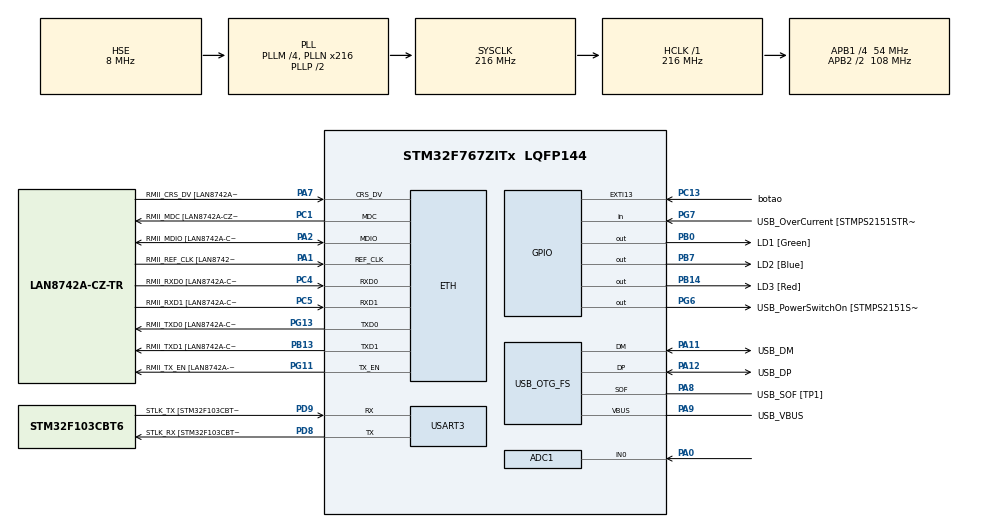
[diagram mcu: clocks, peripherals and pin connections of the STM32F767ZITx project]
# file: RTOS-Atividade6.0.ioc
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ADC1.Channel-0\#ChannelRegularConversion=ADC_CHANNEL_0
ADC1.ContinuousConvMode=ENABLE
ADC1.DMAContinuousRequests=ENABLE
ADC1.NbrOfConversionFlag=1
ADC1.Rank-0\#ChannelRegularConversion=1
ADC1.SamplingTime-0\#ChannelRegularConversion=ADC_SAMPLETIME_3CYCLES
ADC1.master=1
Dma.ADC1.0.Direction=DMA_PERIPH_TO_MEMORY
Dma.ADC1.0.FIFOMode=DMA_FIFOMODE_DISABLE
Dma.ADC1.0.Instance=DMA2_Stream0
Dma.ADC1.0.MemDataAlignment=DMA_MDATAALIGN_HALFWORD
Dma.ADC1.0.MemInc=DMA_MINC_ENABLE
Dma.ADC1.0.Mode=DMA_CIRCULAR
Dma.ADC1.0.PeriphDataAlignment=DMA_PDATAALIGN_HALFWORD
Dma.ADC1.0.PeriphInc=DMA_PINC_DISABLE
Dma.ADC1.0.Priority=DMA_PRIORITY_HIGH
Dma.Request0=ADC1
ETH.MediaInterface=HAL_ETH_RMII_MODE
ETH.PHY_Name=LAN8742A_PHY_ADDRESS
ETH.PHY_Value=0
ETH.PhyAddress=0
FREERTOS.BinarySemaphores01=SemBotao,Dynamic,NULL,Depleted;SemFimLeitura,Dynamic,NULL,Depleted;SemConsumidora,Dynamic,NULL,Depleted
FREERTOS.Queues01=\ DadoSensorFila,1024,uint16_t,0,Dynamic,NULL,NULL
FREERTOS.Tasks01=TaskProdutora,24,512,StartTaskProdutora,Default,NULL,Dynamic,NULL,NULL;TaskConsumidora,24,512,StartTaskConsumidora,Default,NULL,Dynamic,NULL,NULL
FREERTOS.configUSE_NEWLIB_REENTRANT=1
Mcu.Family=STM32F7
Mcu.Name=STM32F767ZITx
Mcu.Package=LQFP144
NVIC.ADC_IRQn=true\:5\:0\:false\:false\:true\:true\:true\:true\:true
NVIC.DMA2_Stream0_IRQn=true\:5\:0\:false\:false\:true\:true\:false\:true\:true
NVIC.EXTI15_10_IRQn=true\:5\:0\:false\:false\:true\:true\:true\:true\:true
NVIC.PriorityGroup=NVIC_PRIORITYGROUP_4
NVIC.TIM2_IRQn=true\:15\:0\:false\:false\:true\:false\:false\:true\:true
NVIC.TimeBase=TIM2_IRQn
NVIC.TimeBaseIP=TIM2
PA0/WKUP.Signal=ADCx_IN0
PA1.GPIO_Label=RMII_REF_CLK [LAN8742A-CZ-TR_REFCLK0]
PA1.Mode=RMII
PA1.Signal=ETH_REF_CLK
PA10.GPIO_Label=USB_ID
PA10.Signal=USB_OTG_FS_ID
PA11.GPIO_Label=USB_DM
PA11.Mode=Device_Only
PA11.Signal=USB_OTG_FS_DM
PA12.GPIO_Label=USB_DP
PA12.Mode=Device_Only
PA12.Signal=USB_OTG_FS_DP
PA13.GPIO_Label=TMS
PA13.Mode=Serial_Wire
PA13.Signal=SYS_JTMS-SWDIO
PA14.GPIO_Label=TCK
PA14.Mode=Serial_Wire
PA14.Signal=SYS_JTCK-SWCLK
PA2.GPIO_Label=RMII_MDIO [LAN8742A-CZ-TR_MDIO]
PA2.Mode=RMII
PA2.Signal=ETH_MDIO
PA7.GPIO_Label=RMII_CRS_DV [LAN8742A-CZ-TR_CRS_DV]
PA7.Mode=RMII
PA7.Signal=ETH_CRS_DV
PA8.GPIO_Label=USB_SOF [TP1]
PA8.Mode=Activate_SOF_FS
PA8.Signal=USB_OTG_FS_SOF
PA9.GPIO_Label=USB_VBUS
PA9.Mode=Activate_VBUS
PA9.Signal=USB_OTG_FS_VBUS
PB0.GPIO_Label=LD1 [Green]
PB0.Signal=GPIO_Output
PB13.GPIO_Label=RMII_TXD1 [LAN8742A-CZ-TR_TXD1]
PB13.Mode=RMII
PB13.Signal=ETH_TXD1
PB14.GPIO_Label=LD3 [Red]
PB14.Signal=GPIO_Output
PB3.GPIO_Label=SWO
PB3.Signal=SYS_JTDO-SWO
PB7.GPIO_Label=LD2 [Blue]
PB7.Signal=GPIO_Output
PC1.GPIO_Label=RMII_MDC [LAN8742A-CZ-TR_MDC]
PC1.Mode=RMII
PC1.Signal=ETH_MDC
PC13.GPIO_Label=botao
PC13.Signal=GPXTI13
PC14/OSC32_IN.Mode=LSE-External-Oscillator
PC14/OSC32_IN.Signal=RCC_OSC32_IN
PC15/OSC32_OUT.Mode=LSE-External-Oscillator
PC15/OSC32_OUT.Signal=RCC_OSC32_OUT
PC4.GPIO_Label=RMII_RXD0 [LAN8742A-CZ-TR_RXD0]
PC4.Mode=RMII
PC4.Signal=ETH_RXD0
PC5.GPIO_Label=RMII_RXD1 [LAN8742A-CZ-TR_RXD1]
PC5.Mode=RMII
PC5.Signal=ETH_RXD1
PD8.GPIO_Label=STLK_RX [STM32F103CBT6_PA3]
PD8.Mode=Asynchronous
PD8.Signal=USART3_TX
PD9.GPIO_Label=STLK_TX [STM32F103CBT6_PA2]
PD9.Mode=Asynchronous
PD9.Signal=USART3_RX
PG11.GPIO_Label=RMII_TX_EN [LAN8742A-CZ-TR_TXEN]
PG11.Mode=RMII
PG11.Signal=ETH_TX_EN
PG13.GPIO_Label=RMII_TXD0 [LAN8742A-CZ-TR_TXD0]
PG13.Mode=RMII
PG13.Signal=ETH_TXD0
PG6.GPIO_Label=USB_PowerSwitchOn [STMPS2151STR_EN]
PG6.Signal=GPIO_Output
PG7.GPIO_Label=USB_OverCurrent [STMPS2151STR_FAULT]
PG7.Signal=GPIO_Input
PH0/OSC_IN.GPIO_Label=MCO [STM32F103CBT6_PA8]
PH0/OSC_IN.Mode=HSE-External-Clock-Source
PH0/OSC_IN.Signal=RCC_OSC_IN
PH1/OSC_OUT.Mode=HSE-External-Clock-Source
PH1/OSC_OUT.Signal=RCC_OSC_OUT
ProjectManager.HeapSize=0x200
ProjectManager.StackSize=0x400
ProjectManager.TargetToolchain=STM32CubeIDE
RCC.48MHZClocksFreq_Value=24000000
RCC.AHBFreq_Value=216000000
RCC.APB1CLKDivider=RCC_HCLK_DIV4
RCC.APB1Freq_Value=54000000
RCC.APB1TimFreq_Value=108000000
RCC.APB2CLKDivider=RCC_HCLK_DIV2
RCC.APB2Freq_Value=108000000
RCC.APB2TimFreq_Value=216000000
RCC.CortexFreq_Value=216000000
RCC.EnbaleCSS=true
RCC.HCLKFreq_Value=216000000
RCC.HSE_VALUE=8000000
RCC.HSI_VALUE=16000000
RCC.PLLM=4
RCC.PLLMUL=RCC_PLL_MUL9
RCC.PLLN=216
RCC.PLLQ=9
RCC.PRESCALERUSB=RCC_USBCLKSOURCE_PLL_DIV1_5
RCC.SYSCLKFreq_VALUE=216000000
RCC.SYSCLKSource=RCC_SYSCLKSOURCE_PLLCLK
RCC.SYSCLKSourceVirtual=RCC_SYSCLKSOURCE_PLLCLK
RCC.USBFreq_Value=48000000
RCC.VCOOutputFreq_Value=432000000
SH.ADCx_IN0.0=ADC1_IN0,IN0
USART3.VirtualMode-Asynchronous=VM_ASYNC
USB_OTG_FS.VirtualMode=Device_Only
VP_FREERTOS_VS_CMSIS_V2.Mode=CMSIS_V2
VP_SYS_VS_tim2.Mode=TIM2
board=NUCLEO-F767ZI

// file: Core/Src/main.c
/* USER CODE BEGIN Header */
/**
 ******************************************************************************
 * @file           : main.c
 * @brief          : Main program body
 ******************************************************************************
 * @attention
 *
 * Copyright (c) 2025 STMicroelectronics.
 * All rights reserved.
 *
 * This software is licensed under terms that can be found in the LICENSE file
 * in the root directory of this software component.
 * If no LICENSE file comes with this software, it is provided AS-IS.
 *
 ******************************************************************************
 */
/* USER CODE END Header */
#include "main.h"
#include "string.h"
#include "cmsis_os.h"

/* USER CODE BEGIN Includes */
#include <stdio.h>
#include <string.h>
/* USER CODE END Includes */

#if defined ( __ICCARM__ ) /*!< IAR Compiler */
#pragma location=0x2007c000
ETH_DMADescTypeDef  DMARxDscrTab[ETH_RX_DESC_CNT]; /* Ethernet Rx DMA Descriptors */
#pragma location=0x2007c0a0
ETH_DMADescTypeDef  DMATxDscrTab[ETH_TX_DESC_CNT]; /* Ethernet Tx DMA Descriptors */

#elif defined ( __CC_ARM )  /* MDK ARM Compiler */

__attribute__((at(0x2007c000))) ETH_DMADescTypeDef  DMARxDscrTab[ETH_RX_DESC_CNT]; /* Ethernet Rx DMA Descriptors */
__attribute__((at(0x2007c0a0))) ETH_DMADescTypeDef  DMATxDscrTab[ETH_TX_DESC_CNT]; /* Ethernet Tx DMA Descriptors */

#elif defined ( __GNUC__ ) /* GNU Compiler */

ETH_DMADescTypeDef DMARxDscrTab[ETH_RX_DESC_CNT] __attribute__((section(".RxDecripSection"))); /* Ethernet Rx DMA Descriptors */
ETH_DMADescTypeDef DMATxDscrTab[ETH_TX_DESC_CNT] __attribute__((section(".TxDecripSection")));   /* Ethernet Tx DMA Descriptors */
#endif

ETH_TxPacketConfig TxConfig;

ADC_HandleTypeDef hadc1;
DMA_HandleTypeDef hdma_adc1;

ETH_HandleTypeDef heth;

UART_HandleTypeDef huart3;

PCD_HandleTypeDef hpcd_USB_OTG_FS;

/* Definitions for TaskProdutora */
osThreadId_t TaskProdutoraHandle;
const osThreadAttr_t TaskProdutora_attributes = {
  .name = "TaskProdutora",
  .stack_size = 512 * 4,
  .priority = (osPriority_t) osPriorityNormal,
};
/* Definitions for TaskConsumidora */
osThreadId_t TaskConsumidoraHandle;
const osThreadAttr_t TaskConsumidora_attributes = {
  .name = "TaskConsumidora",
  .stack_size = 512 * 4,
  .priority = (osPriority_t) osPriorityNormal,
};
/* Definitions for DadoSensorFila */
osMessageQueueId_t DadoSensorFilaHandle;
const osMessageQueueAttr_t DadoSensorFila_attributes = {
  .name = " DadoSensorFila"
};
/* Definitions for SemBotao */
osSemaphoreId_t SemBotaoHandle;
const osSemaphoreAttr_t SemBotao_attributes = {
  .name = "SemBotao"
};
/* Definitions for SemFimLeitura */
osSemaphoreId_t SemFimLeituraHandle;
const osSemaphoreAttr_t SemFimLeitura_attributes = {
  .name = "SemFimLeitura"
};
/* Definitions for SemConsumidora */
osSemaphoreId_t SemConsumidoraHandle;
const osSemaphoreAttr_t SemConsumidora_attributes = {
  .name = "SemConsumidora"
};
/* USER CODE BEGIN PV */
uint16_t bufferADC[1024];
/* USER CODE END PV */

void SystemClock_Config(void);
static void MX_GPIO_Init(void);
static void MX_DMA_Init(void);
static void MX_ETH_Init(void);
static void MX_USART3_UART_Init(void);
static void MX_USB_OTG_FS_PCD_Init(void);
static void MX_ADC1_Init(void);
void StartTaskProdutora(void *argument);
void StartTaskConsumidora(void *argument);

int main(void)
{

  /* MCU Configuration--------------------------------------------------------*/

  /* Reset of all peripherals, Initializes the Flash interface and the Systick. */
  HAL_Init();

  /* Configure the system clock */
  SystemClock_Config();

  /* Initialize all configured peripherals */
  MX_GPIO_Init();
  MX_DMA_Init();
  MX_ETH_Init();
  MX_USART3_UART_Init();
  MX_USB_OTG_FS_PCD_Init();
  MX_ADC1_Init();

  /* Init scheduler */
  osKernelInitialize();

  /* Create the semaphores(s) */
  /* creation of SemBotao */
  SemBotaoHandle = osSemaphoreNew(1, 0, &SemBotao_attributes);

  /* creation of SemFimLeitura */
  SemFimLeituraHandle = osSemaphoreNew(1, 0, &SemFimLeitura_attributes);

  /* creation of SemConsumidora */
  SemConsumidoraHandle = osSemaphoreNew(1, 0, &SemConsumidora_attributes);

  /* Create the queue(s) */
  /* creation of DadoSensorFila */
   DadoSensorFilaHandle = osMessageQueueNew (1024, sizeof(uint16_t), & DadoSensorFila_attributes);

  /* Create the thread(s) */
  /* creation of TaskProdutora */
  TaskProdutoraHandle = osThreadNew(StartTaskProdutora, NULL, &TaskProdutora_attributes);

  /* creation of TaskConsumidora */
  TaskConsumidoraHandle = osThreadNew(StartTaskConsumidora, NULL, &TaskConsumidora_attributes);

  /* Start scheduler */
  osKernelStart();

  /* We should never get here as control is now taken by the scheduler */

  /* Infinite loop */
	while (1) {

	}
}

void SystemClock_Config(void)
{
  RCC_OscInitTypeDef RCC_OscInitStruct = {0};
  RCC_ClkInitTypeDef RCC_ClkInitStruct = {0};

  /** Configure LSE Drive Capability
  */
  HAL_PWR_EnableBkUpAccess();

  /** Configure the main internal regulator output voltage
  */
  __HAL_RCC_PWR_CLK_ENABLE();
  __HAL_PWR_VOLTAGESCALING_CONFIG(PWR_REGULATOR_VOLTAGE_SCALE1);

  /** Initializes the RCC Oscillators according to the specified parameters
  * in the RCC_OscInitTypeDef structure.
  */
  RCC_OscInitStruct.OscillatorType = RCC_OSCILLATORTYPE_HSE;
  RCC_OscInitStruct.HSEState = RCC_HSE_BYPASS;
  RCC_OscInitStruct.PLL.PLLState = RCC_PLL_ON;
  RCC_OscInitStruct.PLL.PLLSource = RCC_PLLSOURCE_HSE;
  RCC_OscInitStruct.PLL.PLLM = 4;
  RCC_OscInitStruct.PLL.PLLN = 216;
  RCC_OscInitStruct.PLL.PLLP = RCC_PLLP_DIV2;
  RCC_OscInitStruct.PLL.PLLQ = 9;
  RCC_OscInitStruct.PLL.PLLR = 2;
  if (HAL_RCC_OscConfig(&RCC_OscInitStruct) != HAL_OK)
  {
    Error_Handler();
  }

  /** Activate the Over-Drive mode
  */
  if (HAL_PWREx_EnableOverDrive() != HAL_OK)
  {
    Error_Handler();
  }

  /** Initializes the CPU, AHB and APB buses clocks
  */
  RCC_ClkInitStruct.ClockType = RCC_CLOCKTYPE_HCLK|RCC_CLOCKTYPE_SYSCLK
                              |RCC_CLOCKTYPE_PCLK1|RCC_CLOCKTYPE_PCLK2;
  RCC_ClkInitStruct.SYSCLKSource = RCC_SYSCLKSOURCE_PLLCLK;
  RCC_ClkInitStruct.AHBCLKDivider = RCC_SYSCLK_DIV1;
  RCC_ClkInitStruct.APB1CLKDivider = RCC_HCLK_DIV4;
  RCC_ClkInitStruct.APB2CLKDivider = RCC_HCLK_DIV2;

  if (HAL_RCC_ClockConfig(&RCC_ClkInitStruct, FLASH_LATENCY_7) != HAL_OK)
  {
    Error_Handler();
  }

  /** Enables the Clock Security System
  */
  HAL_RCC_EnableCSS();
}

static void MX_ADC1_Init(void)
{

  ADC_ChannelConfTypeDef sConfig = {0};

  /** Configure the global features of the ADC (Clock, Resolution, Data Alignment and number of conversion)
  */
  hadc1.Instance = ADC1;
  hadc1.Init.ClockPrescaler = ADC_CLOCK_SYNC_PCLK_DIV4;
  hadc1.Init.Resolution = ADC_RESOLUTION_12B;
  hadc1.Init.ScanConvMode = ADC_SCAN_DISABLE;
  hadc1.Init.ContinuousConvMode = ENABLE;
  hadc1.Init.DiscontinuousConvMode = DISABLE;
  hadc1.Init.ExternalTrigConvEdge = ADC_EXTERNALTRIGCONVEDGE_NONE;
  hadc1.Init.ExternalTrigConv = ADC_SOFTWARE_START;
  hadc1.Init.DataAlign = ADC_DATAALIGN_RIGHT;
  hadc1.Init.NbrOfConversion = 1;
  hadc1.Init.DMAContinuousRequests = ENABLE;
  hadc1.Init.EOCSelection = ADC_EOC_SINGLE_CONV;
  if (HAL_ADC_Init(&hadc1) != HAL_OK)
  {
    Error_Handler();
  }

  /** Configure for the selected ADC regular channel its corresponding rank in the sequencer and its sample time.
  */
  sConfig.Channel = ADC_CHANNEL_0;
  sConfig.Rank = ADC_REGULAR_RANK_1;
  sConfig.SamplingTime = ADC_SAMPLETIME_3CYCLES;
  if (HAL_ADC_ConfigChannel(&hadc1, &sConfig) != HAL_OK)
  {
    Error_Handler();
  }

}

static void MX_ETH_Init(void)
{

   static uint8_t MACAddr[6];

  heth.Instance = ETH;
  MACAddr[0] = 0x00;
  MACAddr[1] = 0x80;
  MACAddr[2] = 0xE1;
  MACAddr[3] = 0x00;
  MACAddr[4] = 0x00;
  MACAddr[5] = 0x00;
  heth.Init.MACAddr = &MACAddr[0];
  heth.Init.MediaInterface = HAL_ETH_RMII_MODE;
  heth.Init.TxDesc = DMATxDscrTab;
  heth.Init.RxDesc = DMARxDscrTab;
  heth.Init.RxBuffLen = 1524;

  if (HAL_ETH_Init(&heth) != HAL_OK)
  {
    Error_Handler();
  }

  memset(&TxConfig, 0 , sizeof(ETH_TxPacketConfig));
  TxConfig.Attributes = ETH_TX_PACKETS_FEATURES_CSUM | ETH_TX_PACKETS_FEATURES_CRCPAD;
  TxConfig.ChecksumCtrl = ETH_CHECKSUM_IPHDR_PAYLOAD_INSERT_PHDR_CALC;
  TxConfig.CRCPadCtrl = ETH_CRC_PAD_INSERT;

}

static void MX_USART3_UART_Init(void)
{

  huart3.Instance = USART3;
  huart3.Init.BaudRate = 115200;
  huart3.Init.WordLength = UART_WORDLENGTH_8B;
  huart3.Init.StopBits = UART_STOPBITS_1;
  huart3.Init.Parity = UART_PARITY_NONE;
  huart3.Init.Mode = UART_MODE_TX_RX;
  huart3.Init.HwFlowCtl = UART_HWCONTROL_NONE;
  huart3.Init.OverSampling = UART_OVERSAMPLING_16;
  huart3.Init.OneBitSampling = UART_ONE_BIT_SAMPLE_DISABLE;
  huart3.AdvancedInit.AdvFeatureInit = UART_ADVFEATURE_NO_INIT;
  if (HAL_UART_Init(&huart3) != HAL_OK)
  {
    Error_Handler();
  }

}

static void MX_USB_OTG_FS_PCD_Init(void)
{

  hpcd_USB_OTG_FS.Instance = USB_OTG_FS;
  hpcd_USB_OTG_FS.Init.dev_endpoints = 6;
  hpcd_USB_OTG_FS.Init.speed = PCD_SPEED_FULL;
  hpcd_USB_OTG_FS.Init.dma_enable = DISABLE;
  hpcd_USB_OTG_FS.Init.phy_itface = PCD_PHY_EMBEDDED;
  hpcd_USB_OTG_FS.Init.Sof_enable = ENABLE;
  hpcd_USB_OTG_FS.Init.low_power_enable = DISABLE;
  hpcd_USB_OTG_FS.Init.lpm_enable = DISABLE;
  hpcd_USB_OTG_FS.Init.vbus_sensing_enable = ENABLE;
  hpcd_USB_OTG_FS.Init.use_dedicated_ep1 = DISABLE;
  if (HAL_PCD_Init(&hpcd_USB_OTG_FS) != HAL_OK)
  {
    Error_Handler();
  }

}

static void MX_DMA_Init(void)
{

  /* DMA controller clock enable */
  __HAL_RCC_DMA2_CLK_ENABLE();

  /* DMA interrupt init */
  /* DMA2_Stream0_IRQn interrupt configuration */
  HAL_NVIC_SetPriority(DMA2_Stream0_IRQn, 5, 0);
  HAL_NVIC_EnableIRQ(DMA2_Stream0_IRQn);

}

static void MX_GPIO_Init(void)
{
  GPIO_InitTypeDef GPIO_InitStruct = {0};

  /* GPIO Ports Clock Enable */
  __HAL_RCC_GPIOC_CLK_ENABLE();
  __HAL_RCC_GPIOH_CLK_ENABLE();
  __HAL_RCC_GPIOA_CLK_ENABLE();
  __HAL_RCC_GPIOB_CLK_ENABLE();
  __HAL_RCC_GPIOD_CLK_ENABLE();
  __HAL_RCC_GPIOG_CLK_ENABLE();

  /*Configure GPIO pin Output Level */
  HAL_GPIO_WritePin(GPIOB, LD1_Pin|LD3_Pin|LD2_Pin, GPIO_PIN_RESET);

  /*Configure GPIO pin Output Level */
  HAL_GPIO_WritePin(USB_PowerSwitchOn_GPIO_Port, USB_PowerSwitchOn_Pin, GPIO_PIN_RESET);

  /*Configure GPIO pin : botao_Pin */
  GPIO_InitStruct.Pin = botao_Pin;
  GPIO_InitStruct.Mode = GPIO_MODE_IT_RISING;
  GPIO_InitStruct.Pull = GPIO_NOPULL;
  HAL_GPIO_Init(botao_GPIO_Port, &GPIO_InitStruct);

  /*Configure GPIO pins : LD1_Pin LD3_Pin LD2_Pin */
  GPIO_InitStruct.Pin = LD1_Pin|LD3_Pin|LD2_Pin;
  GPIO_InitStruct.Mode = GPIO_MODE_OUTPUT_PP;
  GPIO_InitStruct.Pull = GPIO_NOPULL;
  GPIO_InitStruct.Speed = GPIO_SPEED_FREQ_LOW;
  HAL_GPIO_Init(GPIOB, &GPIO_InitStruct);

  /*Configure GPIO pin : USB_PowerSwitchOn_Pin */
  GPIO_InitStruct.Pin = USB_PowerSwitchOn_Pin;
  GPIO_InitStruct.Mode = GPIO_MODE_OUTPUT_PP;
  GPIO_InitStruct.Pull = GPIO_NOPULL;
  GPIO_InitStruct.Speed = GPIO_SPEED_FREQ_LOW;
  HAL_GPIO_Init(USB_PowerSwitchOn_GPIO_Port, &GPIO_InitStruct);

  /*Configure GPIO pin : USB_OverCurrent_Pin */
  GPIO_InitStruct.Pin = USB_OverCurrent_Pin;
  GPIO_InitStruct.Mode = GPIO_MODE_INPUT;
  GPIO_InitStruct.Pull = GPIO_NOPULL;
  HAL_GPIO_Init(USB_OverCurrent_GPIO_Port, &GPIO_InitStruct);

  /* EXTI interrupt init*/
  HAL_NVIC_SetPriority(EXTI15_10_IRQn, 5, 0);
  HAL_NVIC_EnableIRQ(EXTI15_10_IRQn);

}

/* USER CODE BEGIN 4 */
void HAL_GPIO_EXTI_Callback(uint16_t GPIO_Pin) {
	if (GPIO_Pin == botao_Pin) {
		osSemaphoreRelease(SemBotaoHandle);
	}
}

void HAL_ADC_ConvCpltCallback(ADC_HandleTypeDef *hadc) {
	if (hadc->Instance == ADC1) {
		// Libera o semáforo para acordar a tarefa produtora, avisando que os dados estão prontos.
		osSemaphoreRelease(SemFimLeituraHandle);
		HAL_GPIO_TogglePin(GPIOB, LD2_Pin);
	}
}
/* USER CODE END 4 */

void StartTaskProdutora(void *argument)
{
  /* USER CODE BEGIN 5 */
	/* Infinite loop */
	for (;;) {
		// Espera o botão ser pressionado
		osSemaphoreAcquire(SemBotaoHandle, osWaitForever);

		char debug[] = "Task Produtora iniciada!\r\n";
		HAL_UART_Transmit(&huart3, (uint8_t*) debug, strlen(debug), 100);

		// Dá a ordem para o DMA começar a coletar os dados em segundo plano
		HAL_ADC_Start_DMA(&hadc1, (uint32_t*) bufferADC, 1024);

		// Dorme e espera o DMA terminar. A CPU fica livre
		osSemaphoreAcquire(SemFimLeituraHandle, osWaitForever);

		// O DMA terminou
		//    Agora, e somente agora, transferimos os dados do buffer para a fila :)
		for (int i = 0; i < 1024; i++) {
			// Pega o dado já coletado pelo DMA e coloca na fila para o consumidor
			osMessageQueuePut(DadoSensorFilaHandle, &bufferADC[i], 0, 0);
		}

		HAL_GPIO_TogglePin(GPIOB, LD1_Pin);
		osDelay(500);

		osSemaphoreRelease(SemConsumidoraHandle);
	}
  /* USER CODE END 5 */
}

void StartTaskConsumidora(void *argument)
{
  /* USER CODE BEGIN StartTaskConsumidora */
    char msgUART[50];
    /* Infinite loop */
    for(;;) {
        osSemaphoreAcquire(SemConsumidoraHandle, osWaitForever);
        HAL_GPIO_TogglePin(GPIOB, LD3_Pin);

        uint16_t valorLido;
        uint32_t soma = 0;
        float tensao; // Variável para armazenar o valor em volts

        for(int i = 0; i < 1024; i++) {
            osMessageQueueGet(DadoSensorFilaHandle, &valorLido, NULL, osWaitForever);

            // Converte o valor do ADC (0-4095) para volts (0-3.3V)
            tensao = (valorLido * 3.3f) / 4095.0f;

            // Mostra o valor em volts na UART (com 2 casas decimais)
            sprintf(msgUART, "Amostra %d: %.2f V\r\n", i, tensao);
            HAL_UART_Transmit(&huart3, (uint8_t*)msgUART, strlen(msgUART), 200);

            soma += valorLido;
        }

        // Calcula a média em volts (opcional)
        float mediaVolts = (soma / 1024.0f) * (3.3f / 4095.0f);
        sprintf(msgUART, "Media: %.2f V\r\n", mediaVolts);
        HAL_UART_Transmit(&huart3, (uint8_t*)msgUART, strlen(msgUART), 200);

        osDelay(500);
    }
  /* USER CODE END StartTaskConsumidora */
}

void HAL_TIM_PeriodElapsedCallback(TIM_HandleTypeDef *htim)
{
  if (htim->Instance == TIM2) {
    HAL_IncTick();
  }
}

void Error_Handler(void)
{
	__disable_irq();
	while (1) {
	}
}
